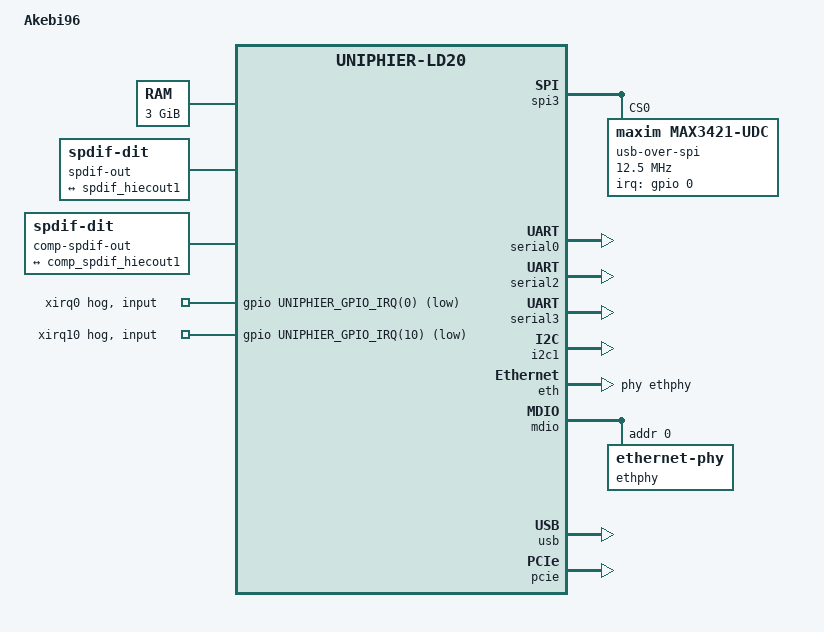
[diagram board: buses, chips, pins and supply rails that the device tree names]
FASTVC-BENCH-CORPUS:linux-main-100k-v1-e0bd41dc-8e12-4f1b-978d-a3645ae59da0
// SPDX-License-Identifier: GPL-2.0+ OR MIT
//
// Device Tree Source for Akebi96 Development Board
//
// Derived from uniphier-ld20-global.dts.
//
// Copyright (C) 2015-2017 Socionext Inc.
// Copyright (C) 2019-2020 Linaro Ltd.

/dts-v1/;
#include <dt-bindings/gpio/uniphier-gpio.h>
#include "uniphier-ld20.dtsi"

/ {
	model = "Akebi96";
	compatible = "socionext,uniphier-ld20-akebi96",
		     "socionext,uniphier-ld20";

	chosen {
		stdout-path = "serial0:115200n8";
	};

	aliases {
		serial0 = &serial0;
		serial1 = &serial1;
		serial2 = &serial2;
		serial3 = &serial3;
		i2c0 = &i2c0;
		i2c1 = &i2c1;
		i2c2 = &i2c2;
		i2c3 = &i2c3;
		i2c4 = &i2c4;
		i2c5 = &i2c5;
		spi0 = &spi0;
		spi1 = &spi1;
		spi2 = &spi2;
		spi3 = &spi3;
		ethernet0 = &eth;
	};

	memory@80000000 {
		device_type = "memory";
		reg = <0 0x80000000 0 0xc0000000>;
	};

	framebuffer@c0000000 {
		compatible = "simple-framebuffer";
		reg = <0 0xc0000000 0 0x02000000>;
		width = <1920>;
		height = <1080>;
		stride = <7680>;
		format = "a8r8g8b8";
	};

	reserved-memory {
		#address-cells = <2>;
		#size-cells = <2>;
		ranges;

		memory@c0000000 {
			reg = <0 0xc0000000 0 0x02000000>;
			no-map;
		};
	};

	sound {
		compatible = "audio-graph-card";
		label = "UniPhier LD20";
		dais = <&spdif_port0
			&comp_spdif_port0>;
	};

	spdif-out {
		compatible = "linux,spdif-dit";
		#sound-dai-cells = <0>;

		port@0 {
			spdif_tx: endpoint {
				remote-endpoint = <&spdif_hiecout1>;
			};
		};
	};

	comp-spdif-out {
		compatible = "linux,spdif-dit";
		#sound-dai-cells = <0>;

		port@0 {
			comp_spdif_tx: endpoint {
				remote-endpoint = <&comp_spdif_hiecout1>;
			};
		};
	};

	firmware {
		optee {
			compatible = "linaro,optee-tz";
			method = "smc";
		};
	};
};

&spi3 {
	status = "okay";
	#address-cells = <1>;
	#size-cells = <0>;
	usb-over-spi@0 {
		compatible = "maxim,max3421-udc";
		reg = <0>;
		spi-max-frequency = <12500000>;
		interrupt-parent = <&gpio>;
		interrupt-names = "udc";
		interrupts = <0 2>;
	};
};

&serial0 {
	/* Onboard USB-UART */
	status = "okay";
};

&serial2 {
	/* LS connector UART1 */
	status = "okay";
};

&serial3 {
	/* LS connector UART0 */
	status = "okay";
};

&spdif_hiecout1 {
	remote-endpoint = <&spdif_tx>;
};

&comp_spdif_hiecout1 {
	remote-endpoint = <&comp_spdif_tx>;
};
/* bench 17803.1.0 d0bb9be68c78 */
/* bench 17803.1.1 723cca40e3b6 */
/* bench 17803.1.2 81736dc0e1ba */
/* bench 17803.1.3 fa110dec1cc9 */
/* bench 17803.1.4 6bd8241a750b */
/* bench 17803.1.5 355e82b0f6a9 */
/* bench 17803.1.6 f7938cca8821 */
/* bench 17803.1.7 c9c9a31010e8 */
/* bench 17803.1.8 ccc3e1eec29b */
/* bench 17803.1.9 8b9e4304438a */
/* bench 17803.1.10 cd76e5e5fa3c */
/* bench 17803.1.11 c22ae149b6d8 */
	status = "okay";
};

&i2c1 {
	/* LS connector I2C1 */
	status = "okay";
};

&eth {
	status = "okay";
	phy-handle = <&ethphy>;
};

&mdio {
	ethphy: ethernet-phy@0 {
		reg = <0>;
	};
};

&usb {
	status = "okay";
};

&pcie {
	status = "okay";
};

&gpio {
	/* IRQs for Max3421 */
	xirq0 {
		gpio-hog;
		gpios = <UNIPHIER_GPIO_IRQ(0) 1>;
		input;
	};
	xirq10 {
		gpio-hog;
		gpios = <UNIPHIER_GPIO_IRQ(10) 1>;
		input;
	};
};

&pinctrl_aout1 {
	groups = "aout1b";
};

&pinctrl_uart3 {
	groups = "uart3", "uart3_ctsrts";
};
